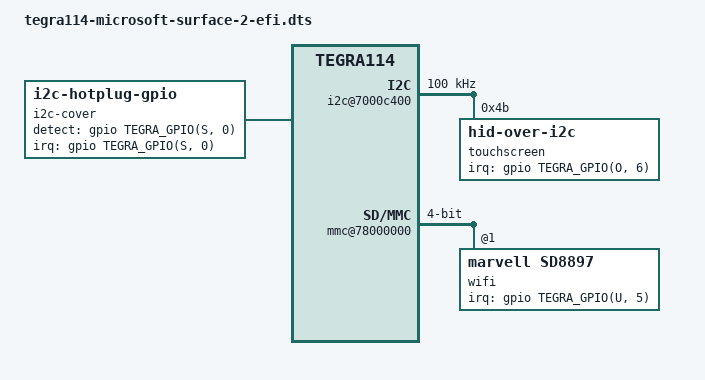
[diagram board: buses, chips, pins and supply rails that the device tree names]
// SPDX-License-Identifier: GPL-2.0-only

/dts-v1/;

#include "tegra114-microsoft-surface-2.dts"

/ {
	compatible = "microsoft,surface-2-efi", "microsoft,surface-2", "nvidia,tegra114";

	// Works for APX but only after replug. Not immediately after boot.
	// Not acceptable for now.
	i2c-cover {
		compatible = "i2c-hotplug-gpio";

		#address-cells = <1>;
		#size-cells = <0>;

		interrupts-extended = <&gpio TEGRA_GPIO(S, 0) IRQ_TYPE_EDGE_BOTH>;
		detect-gpios = <&gpio TEGRA_GPIO(S, 0) GPIO_ACTIVE_HIGH>;

		i2c-parent = <&i2c1>;

		cover@0 {
			compatible = "hid-over-i2c";
			reg = <0x00>;
			hid-descr-addr = <0x0041>;
			interrupt-parent = <&gpio>;
			interrupts = <TEGRA_GPIO(C, 7) IRQ_TYPE_LEVEL_LOW>;
			//vdd-supply = <&sensor_hub_reg>;
		};

	};

	i2c@7000c400 {
		status = "okay";
		clock-frequency = <100000>;
		
		// Doesn't work for APX. Device doesn't show up at all or disconnects
		touchscreen@4b {
			compatible = "hid-over-i2c";
			reg = <0x4b>;
			hid-descr-addr = <0x0000>;
			interrupt-parent = <&gpio>;
			interrupts = <TEGRA_GPIO(O, 6) IRQ_TYPE_LEVEL_LOW>;
			//vdd-supply = <&touchscreen_reg>;
		};
	};
	
	// Firmware doesn't come active in time.
	/* WiFi - SDMMC-1 */
	mmc@78000000 {
		#address-cells = <1>;
		#size-cells = <0>;

		status = "okay";

		bus-width = <4>;
		cap-power-off-card;
		keep-power-in-suspend;
		max-frequency = <100000000>;

		assigned-clocks = <&tegra_car TEGRA114_CLK_SDMMC1>;
		assigned-clock-parents = <&tegra_car TEGRA114_CLK_PLL_C>;
		assigned-clock-rates = <100000000>;

		mmc-pwrseq = <&mrvl_wifi_pwrseq>;
		//vqmmc-supply = <&vqmmc_wifi_reg>;

		// Marvell 88W8797 WiFi 
		wifi@1 {
			compatible = "marvell,sd8897";
			reg = <1>;
			interrupt-parent = <&gpio>;
			interrupts = <TEGRA_GPIO(U, 5) IRQ_TYPE_LEVEL_LOW>; // change back to LOW to comply ACPI
		};
	};

	mrvl_wifi_pwrseq: wifi-pwrseq {
		compatible = "mmc-pwrseq-simple";

		clocks = <&tegra_pmc TEGRA_PMC_CLK_BLINK>;
		clock-names = "ext_clock";

		post-power-on-delay-ms = <300>;
		power-off-delay-us = <300>;
		// Reset and enable: K0, K2, K4
	};
};
